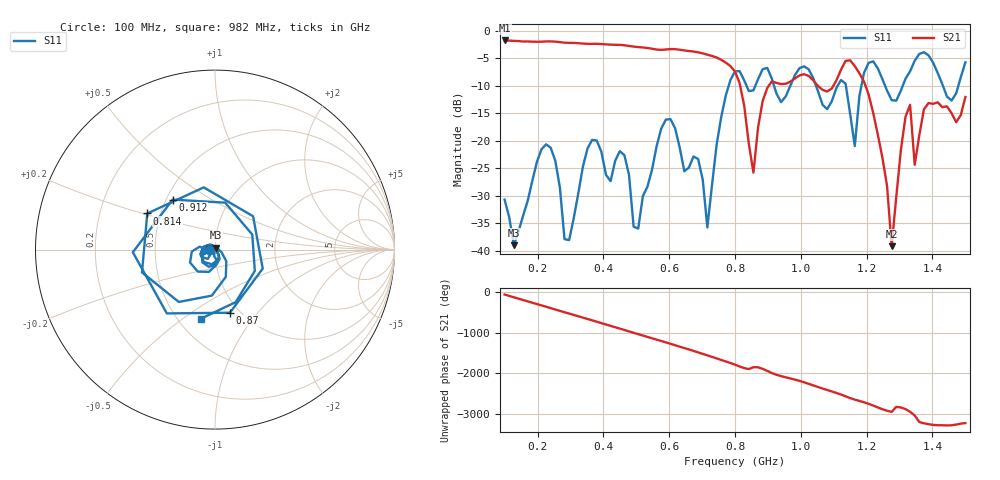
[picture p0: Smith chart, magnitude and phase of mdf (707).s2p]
! NanoVNA-App
! Date: 2025-09-25 15:43:55
! Start: 100MHz Stop: 1,5GHz Points: 101
! S-Parameter data: F S11 S21 S12 S22
# Hz S RI R 50
!  Frequency  S11_Real  S11_Imag  S21_Real  S21_Imag  S12_Real  S12_Imag  S22_Real  S22_Imag
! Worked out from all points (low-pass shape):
!   101 points, 100 MHz to 1.5 GHz, reference 50 ohm
!   highest |S21| = -1.80 dB at 100 MHz (marker M1); lowest = -39.2 dB at 1.276 GHz (marker M2)
!   |S21| within 3 dB of the highest: start of sweep to 739.4 MHz
!   lowest |S11| = -39.0 dB at 128 MHz (marker M3), VSWR 1.02, Z = 50.3 + j1.08 ohm
!   |S11| at or under -10 dB: start of sweep to 781 MHz; 918.5 MHz to 968.3 MHz (49.85 MHz wide, 5.28 % of centre); 1.046 GHz to 1.112 GHz (66.37 MHz wide, 6.15 % of centre) (the widest 3 of 7)
!   S12 and S22 are empty: the file has one direction only
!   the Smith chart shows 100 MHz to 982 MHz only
!   S11 on the Smith chart (normalised r, x): 100 MHz: 0.94, -0.01; 814 MHz: 0.42, +0.21; 870 MHz: 0.90, -0.73; 912 MHz: 0.54, +0.35; 982 MHz: 0.64, -0.59
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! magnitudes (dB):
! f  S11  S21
! 100 MHz  -30.7  -1.8
! 128 MHz  -39.0  -1.9
! 212 MHz  -21.6  -2.0
! 282 MHz  -37.9  -2.2
! 338 MHz  -24.7  -2.4
! 464 MHz  -22.6  -2.7
! 506 MHz  -36.0  -3.0
! 576 MHz  -17.8  -3.5
! 716 MHz  -35.8  -4.4
! 800 MHz  -7.4  -7.4
! 814 MHz  -7.4  -9.5
! 856 MHz  -10.9  -25.8
! 870 MHz  -8.8  -17.6
! 912 MHz  -8.8  -9.2
! 982 MHz  -8.1  -8.7
! 1.038 GHz  -8.7  -9.1
! 1.164 GHz  -21.0  -6.5
! 1.192 GHz  -7.7  -9.3
! 1.276 GHz  -12.7  -39.2
! 1.332 GHz  -7.4  -13.5
! 1.346 GHz  -5.5  -24.4
! 1.5 GHz  -5.8  -12.1
